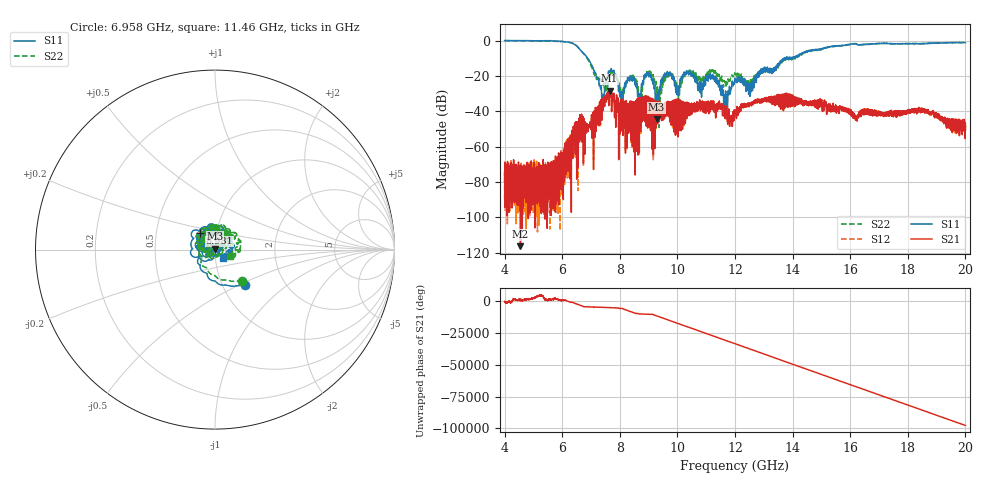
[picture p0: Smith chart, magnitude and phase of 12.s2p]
[Version] 2.0
! Rohde & Schwarz Vector Network Analyzer
! Rohde-Schwarz,ZNL20-2Port,1323001220200009,1.71.1.10-23.02.1.238
! Port Assignments:
! Nominal Port -> Actual Test Port
!  1 -> 1
!  2 -> 2
! Created: GMT+2 2025-01-16 20:24:29
# Hz S RI R 50
[Number of Ports] 2
[Two-Port Data Order] 21_12
! freq[Hz]  S11[Re]  S11[Im]  S21[Re]  S21[Im]  S12[Re]  S12[Im]  S22[Re]  S22[Im]
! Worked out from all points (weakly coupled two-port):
!   16001 points, 4 GHz to 20 GHz, reference 50 ohm
!   highest |S21| = -28.31 dB at 7.646 GHz (marker M1); lowest = -116.3 dB at 4.55 GHz (marker M2)
!   lowest |S11| = -44.5 dB at 9.278 GHz (marker M3), VSWR 1.01, Z = 50.1 + j0.595 ohm
!   |S11| at or under -10 dB: 6.884 GHz to 13.7 GHz (6.818 GHz wide, 66.2 % of centre); 13.71488 GHz to 13.74354 GHz (28.66 MHz wide, 0.209 % of centre); 13.94343 GHz to 13.96749 GHz (24.06 MHz wide, 0.172 % of centre) (the widest 3 of 9)
!   |S22| runs from -49.8 to 0.0 dB; largest |S21 - S12| = 0.0027
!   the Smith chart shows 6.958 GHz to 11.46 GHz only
!   S11 on the Smith chart (normalised r, x): 6.958 GHz: 1.27, -0.54; 8.981 GHz: 0.83, +0.16; 11.46 GHz: 1.08, -0.10
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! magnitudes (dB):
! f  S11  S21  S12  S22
! 4 GHz  0.0  -76.3  -77.5  -0.2
! 4.55 GHz  -0.1  -116.3  -76.2  -0.2
! 5.771 GHz  -0.2  -87.1  -78.7  -0.4
! 6.667 GHz  -6.0  -42.1  -41.9  -6.0
! 6.958 GHz  -11.7  -48.2  -48.9  -12.7
! 7.407 GHz  -30.6  -34.9  -34.8  -22.5
! 7.646 GHz  -17.3  -28.3  -28.3  -19.7
! 8.041 GHz  -37.8  -35.1  -35.1  -30.2
! 8.429 GHz  -22.8  -41.8  -41.8  -21.7
! 8.71 GHz  -32.4  -34.5  -34.7  -38.2
! 8.981 GHz  -18.1  -34.5  -34.6  -17.4
! 9.278 GHz  -44.5  -35.3  -35.3  -29.3
! 9.334 GHz  -28.2  -34.4  -34.4  -31.7
! 9.676 GHz  -19.4  -36.4  -36.5  -20.3
! 10.05 GHz  -25.7  -33.8  -33.8  -28.0
! 10.38 GHz  -19.1  -36.5  -36.4  -18.5
! 11.46 GHz  -24.2  -35.5  -35.5  -21.1
! 11.68 GHz  -29.0  -39.2  -39.4  -23.5
! 12 GHz  -21.3  -41.2  -41.4  -18.5
! 14.67 GHz  -5.5  -34.6  -34.4  -5.8
! 17.33 GHz  -1.8  -40.7  -41.3  -1.8
! 20 GHz  -1.2  -47.1  -50.0  -1.1
